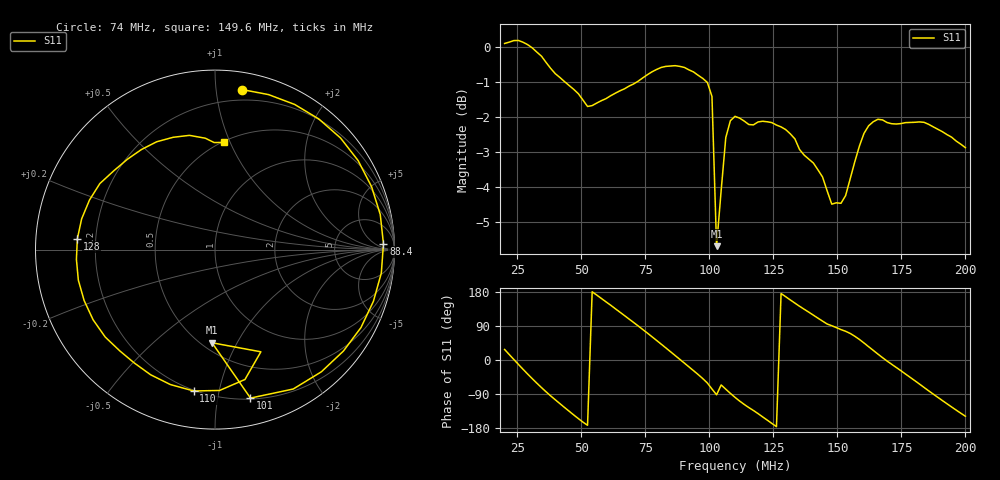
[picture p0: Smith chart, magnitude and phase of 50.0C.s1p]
# HZ S RI R 50
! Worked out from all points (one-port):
!   101 points, 20 MHz to 200 MHz, reference 50 ohm
!   lowest |S11| = -5.7 dB at 102.8 MHz (marker M1), VSWR 3.16, Z = 28 - j39.8 ohm
!   |S11| at or under -10 dB: nowhere
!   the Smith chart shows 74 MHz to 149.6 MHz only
!   S11 on the Smith chart (normalised r, x): 74 MHz: 0.12, +1.18; 88.4 MHz: 24, +13; 101 MHz: 0.21, -1.25; 110 MHz: 0.20, -0.84; 128 MHz: 0.13, +0.04; 149.6 MHz: 0.51, +0.95
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2e7  0.8957 0.4724
2.54e7  1.002 -0.2071
3.26e7  0.4746 -0.8623
3.8e7  -0.0768 -0.9296
4.34e7  -0.5153 -0.7294
4.88e7  -0.775 -0.3685
5.42e7  -0.8253 1.5e-05
6.5e7  -0.5149 0.6966
7.4e7  0.1517 0.8915
8.12e7  0.6994 0.6218
8.84e7  0.9385 0.0324
9.56e7  0.7156 -0.5651
1.01e8  0.1976 -0.8272
1.028e8  -0.0165 -0.519
1.046e8  0.2556 -0.5694
1.1e8  -0.1183 -0.7877
1.208e8  -0.6793 -0.3907
1.28e8  -0.7669 0.0604
1.334e8  -0.6414 0.3681
1.406e8  -0.3253 0.6007
1.496e8  0.0478 0.5972
1.55e8  0.2203 0.6098
1.604e8  0.534 0.5312
1.658e8  0.759 0.2148
1.712e8  0.7623 -0.1519
1.784e8  0.5459 -0.5579
1.892e8  -0.1114 -0.7552
2e8  -0.6118 -0.3766
